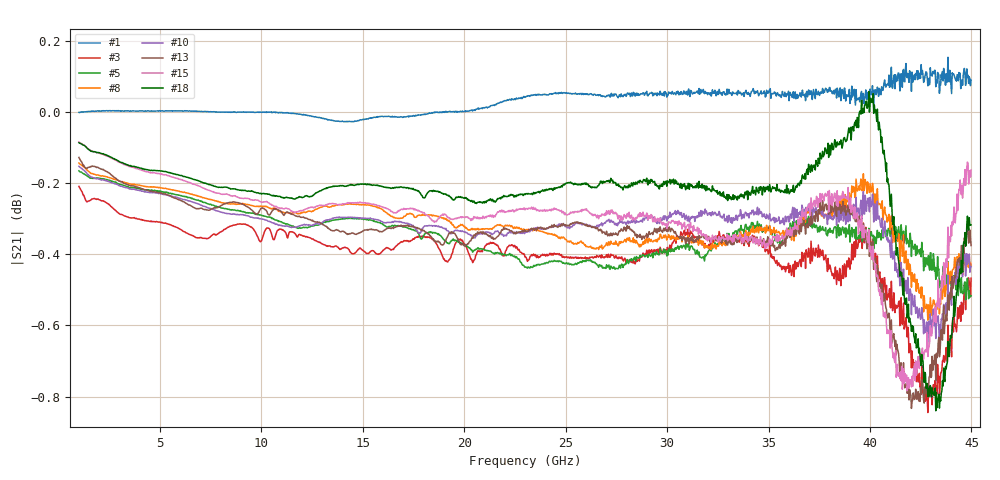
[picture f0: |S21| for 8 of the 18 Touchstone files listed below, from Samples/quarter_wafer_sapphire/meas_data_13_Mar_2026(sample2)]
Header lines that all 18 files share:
!Keysight Technologies,N5247B,MY61255062,A.19.80.06
!Correction: S11(C  2-Port  )
!S21(C  2-Port  )
!S12(C  2-Port  )
!S22(C  2-Port  )
!S2P File: Measurements: S11, S21, S12, S22:
# Hz S  dB  R 50
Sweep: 1 GHz to 44.98 GHz
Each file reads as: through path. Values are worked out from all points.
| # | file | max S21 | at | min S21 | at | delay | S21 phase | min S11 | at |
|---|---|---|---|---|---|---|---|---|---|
| 1 | calibration_data.s2p | 0.15 dB | 43.84 GHz | 0.0 dB | 14.47 GHz | 518 fs | -4 deg at 22.99 GHz | -42.2 dB | 1.03 GHz |
| 2 | sample_01_set01_3g.s2p | -0.21 dB | 1 GHz | -0.9 dB | 42.85 GHz | 37.7 ps | 49 deg at 22.99 GHz | -29.7 dB | 1.3 GHz |
| 3 | sample_01_set01_4g.s2p | -0.21 dB | 1 GHz | -0.8 dB | 42.85 GHz | 37.9 ps | 47 deg at 22.99 GHz | -29.7 dB | 1.3 GHz |
| 4 | sample_01_set01_5g.s2p | -0.20 dB | 1 GHz | -0.9 dB | 42.85 GHz | 37.7 ps | 48 deg at 22.99 GHz | -32.4 dB | 19.57 GHz |
| 5 | sample_01_set_04_25_5.s2p | -0.17 dB | 1 GHz | -0.5 dB | 44.71 GHz | 17.6 ps | -145 deg at 22.99 GHz | -52.5 dB | 39.13 GHz |
| 6 | sample_01_set_07_14_5.s2p | -0.15 dB | 1 GHz | -0.6 dB | 42.85 GHz | 18 ps | -150 deg at 22.99 GHz | -31.1 dB | 1 GHz |
| 7 | sample_01_set_07_17_5.s2p | -0.16 dB | 1 GHz | -0.6 dB | 42.85 GHz | 18.2 ps | -151 deg at 22.99 GHz | -31.9 dB | 14.02 GHz |
| 8 | sample_01_set_07_20_5.s2p | -0.14 dB | 1 GHz | -0.6 dB | 42.85 GHz | 17.8 ps | -147 deg at 22.99 GHz | -32.0 dB | 1 GHz |
| 9 | sample_01_set_07_23_5.s2p | -0.15 dB | 1 GHz | -0.6 dB | 42.85 GHz | 18 ps | -149 deg at 22.99 GHz | -34.0 dB | 38.74 GHz |
| 10 | sample_01_set_07_25_5.s2p | -0.15 dB | 1 GHz | -0.6 dB | 42.85 GHz | 18.1 ps | -150 deg at 22.99 GHz | -41.4 dB | 36.43 GHz |
| 11 | sample_02_set01_2g.s2p | -0.13 dB | 1 GHz | -0.9 dB | 42.64 GHz | 37.9 ps | 46 deg at 22.99 GHz | -49.2 dB | 19.72 GHz |
| 12 | sample_02_set01_3g.s2p | -0.13 dB | 1 GHz | -0.9 dB | 42.85 GHz | 38.1 ps | 45 deg at 22.99 GHz | -36.7 dB | 8.83 GHz |
| 13 | sample_02_set01_4g.s2p | -0.13 dB | 1 GHz | -0.8 dB | 42.04 GHz | 38.4 ps | 43 deg at 22.99 GHz | -40.3 dB | 9.19 GHz |
| 14 | sample_02_set01_5g.s2p | -0.12 dB | 1 GHz | -0.9 dB | 42.85 GHz | 37.8 ps | 48 deg at 22.99 GHz | -45.8 dB | 20.44 GHz |
| 15 | sample_02_set07_17_5.s2p | -0.08 dB | 1 GHz | -0.8 dB | 41.83 GHz | 18 ps | -149 deg at 22.99 GHz | -43.2 dB | 17.86 GHz |
| 16 | sample_02_set07_20_5.s2p | -0.09 dB | 1 GHz | -0.6 dB | 42.85 GHz | 18.4 ps | -152 deg at 22.99 GHz | -51.0 dB | 43.06 GHz |
| 17 | sample_02_set07_23_5.s2p | -0.09 dB | 1 GHz | -0.6 dB | 43.24 GHz | 18.3 ps | -152 deg at 22.99 GHz | -54.7 dB | 39.67 GHz |
| 18 | sample_02_set07_25_5.s2p | 0.06 dB | 39.94 GHz | -0.8 dB | 43.24 GHz | 18.6 ps | -153 deg at 22.99 GHz | -65.3 dB | 31.33 GHz |
